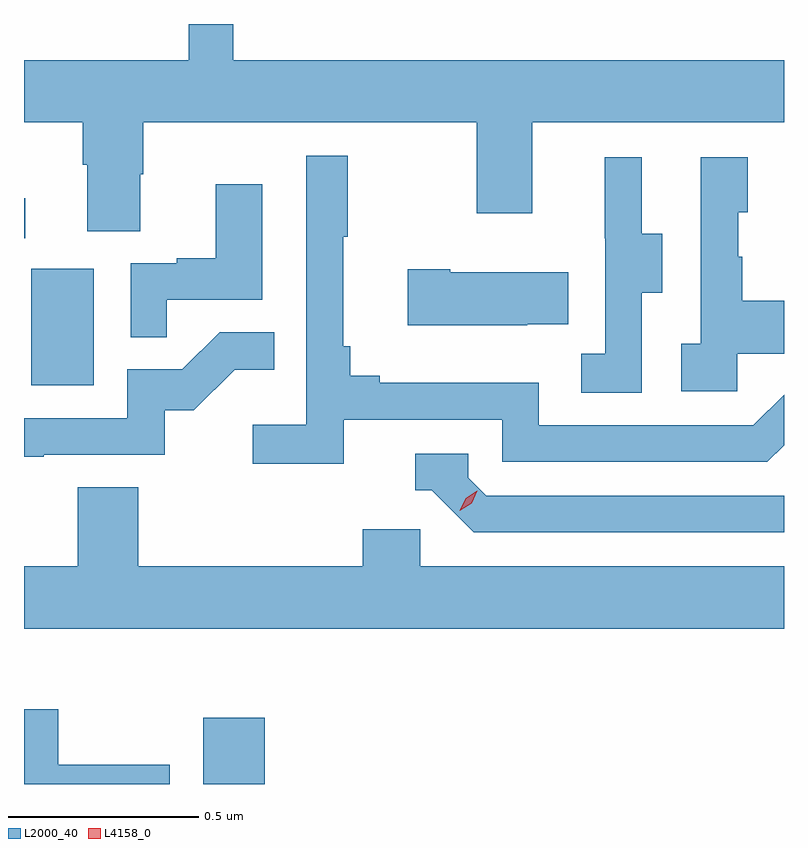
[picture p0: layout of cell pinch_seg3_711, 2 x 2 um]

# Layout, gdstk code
import gdstk
lib = gdstk.Library(unit=1e-6, precision=1e-09)
def R(c, l, rs):  # rectangles x0, y0, x1, y1
    for r in rs: c.add(gdstk.rectangle(r[:2], r[2:], *l))
def P(c, l, *ps):  # polygons
    for p in ps: c.add(gdstk.Polygon(p, *l))
L2000_40 = (2000, 40)
L4158_0 = (4158, 0)

pinch_seg3_711 = lib.new_cell('pinch_seg3_711')
R(pinch_seg3_711, L2000_40, [(1103.501,681.859,1103.662,682.033), (1103.048,682.908,1103.212,683.215), (1103.029,683.295,1103.032,683.401)])
P(pinch_seg3_711, L2000_40, [(1103.335,683.463),(1103.343,683.463),(1103.343,683.6),(1104.22,683.6),(1104.22,683.361),(1104.367,683.361),(1104.367,683.6),(1105.029,683.6),(1105.029,683.764),(1103.579,683.764),(1103.579,683.859),(1103.462,683.859),(1103.462,683.764),(1103.029,683.764),(1103.029,683.6),(1103.183,683.6),(1103.183,683.488),(1103.195,683.488),(1103.195,683.314),(1103.335,683.314)],
  [(1103.87,682.818),(1104.288,682.818),(1104.288,682.707),(1104.985,682.707),(1105.029,682.751),(1105.029,682.884),(1104.948,682.803),(1104.384,682.803),(1104.384,682.915),(1103.965,682.915),(1103.965,682.934),(1103.888,682.934),(1103.888,683.011),(1103.869,683.011),(1103.869,683.299),(1103.881,683.299),(1103.881,683.512),(1103.772,683.512),(1103.772,682.804),(1103.631,682.804),(1103.631,682.702),(1103.87,682.702)],
  [(1104.906,682.991),(1105.029,682.991),(1105.029,683.131),(1104.919,683.131),(1104.919,683.246),(1104.909,683.246),(1104.909,683.364),(1104.934,683.364),(1104.934,683.509),(1104.81,683.509),(1104.81,683.018),(1104.759,683.018),(1104.759,682.893),(1104.906,682.893)],
  [(1104.654,683.152),(1104.709,683.152),(1104.709,683.307),(1104.655,683.307),(1104.655,683.509),(1104.557,683.509),(1104.557,683.295),(1104.558,683.295),(1104.558,682.991),(1104.495,682.991),(1104.495,682.888),(1104.654,682.888)],
  [(1103.405,683.133),(1103.656,683.133),(1103.656,683.437),(1103.534,683.437),(1103.534,683.242),(1103.431,683.242),(1103.431,683.229),(1103.31,683.229),(1103.31,683.035),(1103.405,683.035)],
  [(1104.353,683.069),(1104.461,683.069),(1104.461,683.206),(1104.151,683.206),(1104.151,683.214),(1104.039,683.214),(1104.039,683.066),(1104.353,683.066)],
  [(1103.081,682.725),(1103.4,682.725),(1103.4,682.842),(1103.476,682.842),(1103.583,682.949),(1103.687,682.949),(1103.687,683.048),(1103.544,683.048),(1103.446,682.95),(1103.301,682.95),(1103.301,682.821),(1103.029,682.821),(1103.029,682.72),(1103.081,682.72)],
  [(1105.029,682.617),(1104.246,682.617),(1104.198,682.665),(1104.198,682.728),(1104.059,682.728),(1104.059,682.632),(1104.102,682.632),(1104.213,682.521),(1105.029,682.521)],
  [(1105.029,682.432),(1104.072,682.432),(1104.072,682.53),(1103.921,682.53),(1103.921,682.432),(1103.33,682.432),(1103.33,682.64),(1103.17,682.64),(1103.17,682.432),(1103.029,682.432),(1103.029,682.268),(1105.029,682.268)],
  [(1103.412,681.91),(1103.119,681.91),(1103.119,682.056),(1103.029,682.056),(1103.029,681.859),(1103.412,681.859)])
P(pinch_seg3_711, L4158_0, [(1104.176,682.578),(1104.176,682.578),(1104.192,682.611),(1104.222,682.631),(1104.222,682.631),(1104.222,682.631),(1104.207,682.598),(1104.176,682.578)])

lib.write_gds('pinch_seg3_711.gds')
